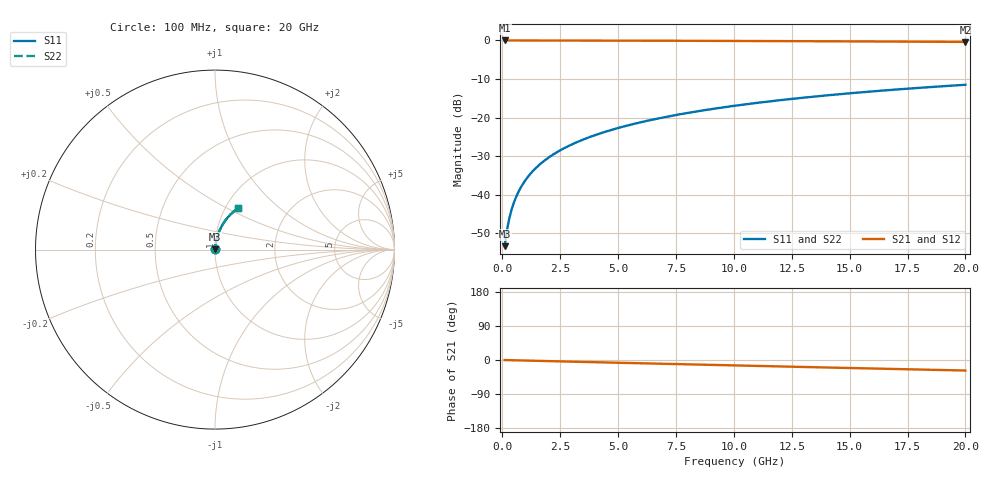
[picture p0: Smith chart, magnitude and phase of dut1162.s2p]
! Touchstone file exported from HFSS 2026.1.0
!  File:  C:/ffzhzh/LocalFiles/Ansys_Project_Files/temp_train_BSMRDL_1162_1783175827_22436.aedt
!  Generated:  10:38:19 PM Jul  4, 2026
!  Design:  BSMRDL
!  Project:  temp_train_BSMRDL_1162_1783175827_22436
! Variables:
!  h_bsmrdl = 5.74um
!  h_ox = 20um
!  h_rdl = 5um
!  h_sub = 80um
!  h_tmrdl = 5um
!  h_tsv = 80um
!  h_via = 3um
!  l_bsmrdl = 390.62um
!  l_sub = 790.62um
!  l_tmrdl = 200um
!  m_sub = 200um
!  pitch = 44.63um
!  r_tsv = 6um
!  s_tmrdl = 10um
!  w_bsmrdl = 18.34um
!  w_sub = 500um
!  w_tmrdl = 12um
!  x_tsv_center1 = 206um
!  x_tsv_center2 = 614.96um
!  x_tsv_center3 = 826.96um
!  x_tsv_center4 = 1235.92um
!  x_tsv_center5 = 1447.92um
!  x_tsv_center6 = 1856.88um
# GHz S MA R 50.000000
! Terminal data exported
! Port[1] = BSM_RDL1_1_T1
! Port[2] = BSM_RDL1_1_T2
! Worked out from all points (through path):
!   200 points, 100 MHz to 20 GHz, reference 50 ohm
!   highest |S21| = -0.01 dB at 100 MHz (marker M1); lowest = -0.4 dB at 20 GHz (marker M2)
!   group delay of S21, straight-line fit = 3.86 ps
!   lowest |S11| = -53.3 dB at 100 MHz (marker M3), VSWR 1.00, Z = 50.1 + j0.162 ohm
!   |S11| at or under -10 dB: start of sweep to end of sweep
!   |S22| runs from -53.3 to -11.5 dB; largest |S21 - S12| = 3.8e-15
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0.1  0.002163 48.2  0.9986 -0.2  0.9986 -0.2  0.002163 48.2
! Gamma 0 0 0 0
! Port Impedance 50 0 50 0
0.2  0.003485 66.0  0.9985 -0.3  0.9985 -0.3  0.003482 66.0
0.3  0.004935 73.3  0.9984 -0.5  0.9984 -0.5  0.00493 73.3
0.4  0.006423 77.0  0.9983 -0.6  0.9983 -0.6  0.006416 77.0
0.5  0.007927 79.1  0.9983 -0.7  0.9983 -0.7  0.00792 79.1
0.7  0.01095 81.3  0.9982 -1.0  0.9982 -1.0  0.01095 81.3
0.8  0.01247 81.9  0.9981 -1.2  0.9981 -1.2  0.01246 81.9
1  0.01549 82.6  0.998 -1.5  0.998 -1.5  0.01548 82.6
1.2  0.0185 82.9  0.9979 -1.8  0.9979 -1.8  0.0185 82.9
1.4  0.0215 83.0  0.9978 -2.1  0.9978 -2.1  0.02149 83.0
1.7  0.02596 83.0  0.9975 -2.5  0.9975 -2.5  0.02595 83.0
2  0.03038 82.8  0.9973 -2.9  0.9973 -2.9  0.03037 82.8
2.7  0.04058 82.3  0.9965 -4.0  0.9965 -4.0  0.04058 82.3
3.5  0.05208 81.4  0.9956 -5.1  0.9956 -5.1  0.05208 81.4
4.2  0.06206 80.7  0.9946 -6.1  0.9946 -6.1  0.06206 80.6
5  0.07336 79.7  0.9934 -7.3  0.9934 -7.3  0.07336 79.7
6.8  0.09845 77.5  0.9905 -9.8  0.9905 -9.8  0.09845 77.5
8.3  0.119 75.6  0.9877 -11.9  0.9877 -11.9  0.119 75.6
10.1  0.1433 73.3  0.984 -14.4  0.984 -14.4  0.1433 73.3
13.4  0.1863 69.0  0.976 -19.0  0.976 -19.0  0.1863 69.0
16.7  0.2274 64.8  0.9667 -23.4  0.9667 -23.4  0.2274 64.8
20  0.2662 60.6  0.9562 -27.8  0.9562 -27.8  0.2662 60.6
